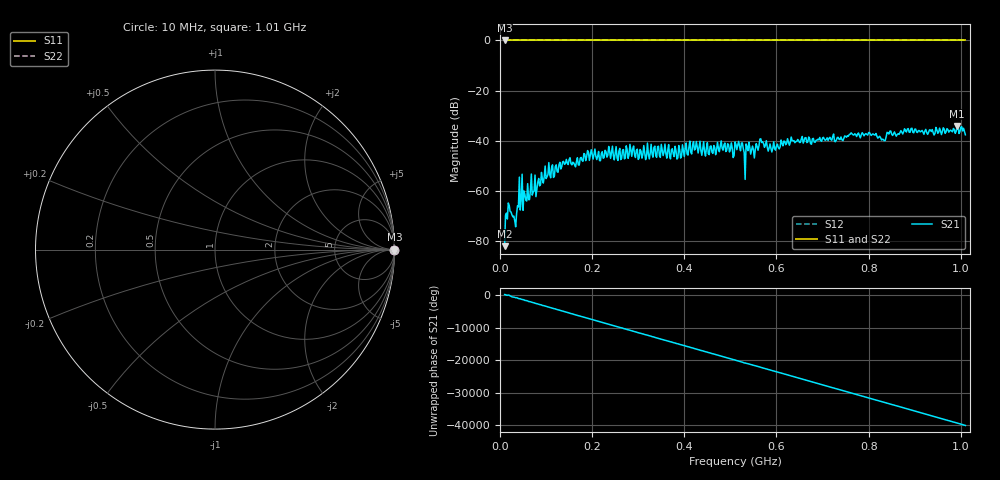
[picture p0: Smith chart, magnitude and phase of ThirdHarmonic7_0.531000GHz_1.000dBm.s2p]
! 8/17/2025 3:47:29 PM
! C:\ANRITSUVNA\TEMP\TEMP.S2P
! CHANNEL.1
! TR.MEASUREMENT
! RAW.DATA
! RF.CORRECTION.OFF
! AVERAGING.OFF
! IF.BANDWIDTH: 5KHZ
! SWEEPTYPE:  FREQ.SWEEP(Linear)
! Reference Plane Port Info
! PORT:  PORT1  PORT2
! DISTANCE:  0  m  0  m
! TIME:  0  s  0  s
! PHASE.OFFSET:  0  deg.  0  deg.
! LOSS:  0  dB  0  dB
! REF.LOSS:  0  dB  0  dB
! REF.FREQ:  0  Hz  0  Hz
! Power Info
! POWER:  -20  dBm  -20  dBm
! EFF.POWER:  -20  dBm  -20  dBm
! SOURCE.ATTEN:  0  dB  0  dB
! TEST.ATTEN:  0  dB  0  dB
# GHZ S RI R 50.0
! FREQ.GHZ  S11RE  S11IM  S21RE  S21IM  S12RE  S12IM  S22RE  S22IM
!; PortSelection: Port_12
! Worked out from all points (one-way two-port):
!   501 points, 10 MHz to 1.01 GHz, reference 50 ohm
!   highest |S21| = -34.18 dB at 992 MHz (marker M1); lowest = -82.1 dB at 10 MHz (marker M2)
!   lowest |S11| = 0.0 dB at 10 MHz (marker M3)
!   |S11| at or under -10 dB: nowhere
!   |S22| runs from 0.0 to 0.0 dB; largest |S21 - S12| = 1
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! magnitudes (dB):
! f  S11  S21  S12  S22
! 10 MHz  0.0  -82.1  0.0  0.0
! 16 MHz  0.0  -71.3  0.0  0.0
! 32 MHz  0.0  -71.9  0.0  0.0
! 44 MHz  0.0  -67.7  0.0  0.0
! 54 MHz  0.0  -61.5  0.0  0.0
! 102 MHz  0.0  -54.4  0.0  0.0
! 178 MHz  0.0  -47.9  0.0  0.0
! 344 MHz  0.0  -42.2  0.0  0.0
! 422 MHz  0.0  -43.7  0.0  0.0
! 510 MHz  0.0  -40.5  0.0  0.0
! 522 MHz  0.0  -44.0  0.0  0.0
! 534 MHz  0.0  -41.3  0.0  0.0
! 538 MHz  0.0  -44.0  0.0  0.0
! 548 MHz  0.0  -42.2  0.0  0.0
! 568 MHz  0.0  -40.8  0.0  0.0
! 586 MHz  0.0  -41.3  0.0  0.0
! 678 MHz  0.0  -39.2  0.0  0.0
! 798 MHz  0.0  -37.8  0.0  0.0
! 832 MHz  0.0  -39.6  0.0  0.0
! 844 MHz  0.0  -37.4  0.0  0.0
! 992 MHz  0.0  -34.2  0.0  0.0
! 1.01 GHz  0.0  -37.7  0.0  0.0
